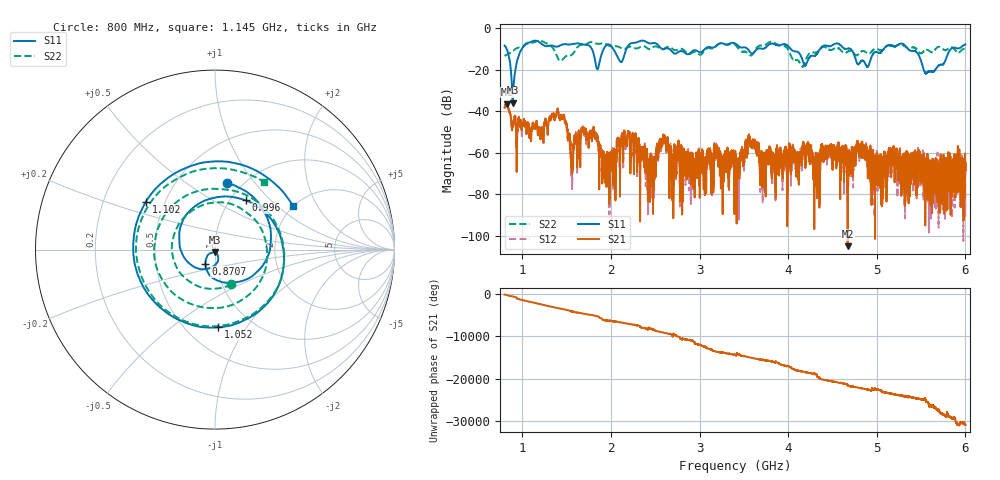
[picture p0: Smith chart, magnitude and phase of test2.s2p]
!Keysight Technologies N9923A: A.08.15
!Date: Friday, 16 February 2024 23:00:44
!Timezone: (GMT-05:00) Eastern Time (US & Canada)
!Model: N9923A
!Serial: MY52412730
!GPS Latitude:
!GPS Longitude:
!GPS TimeStamp: 0001-01-01 00:00:00Z
!GPS Seconds Since Last Read: 0
!CHECKSUM:1710827460
!Correction: S11(ON Q)S21(ON Q)S12(ON Q)S22(ON Q)
!S2P File: Measurements:S11,S21,S12,S22:
# Hz S DB R 50
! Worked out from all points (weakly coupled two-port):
!   10001 points, 800 MHz to 6 GHz, reference 50 ohm
!   highest |S21| = -36.60 dB at 822.4 MHz (marker M1); lowest = -105.1 dB at 4.671 GHz (marker M2)
!   lowest |S11| = -35.9 dB at 891.5 MHz (marker M3), VSWR 1.03, Z = 49.8 - j1.58 ohm
!   |S11| at or under -10 dB: 2.658 GHz to 3.062 GHz (403.9 MHz wide, 14.1 % of centre); 4.702 GHz to 5.08 GHz (377.9 MHz wide, 7.73 % of centre); 5.352 GHz to 5.838 GHz (485.7 MHz wide, 8.68 % of centre) (the widest 3 of 12)
!   |S22| runs from -18.6 to -5.9 dB; largest |S21 - S12| = 0.0014
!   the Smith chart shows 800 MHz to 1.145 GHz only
!   S11 on the Smith chart (normalised r, x): 800 MHz: 0.85, +0.74; 870.7 MHz: 0.89, -0.14; 996 MHz: 1.17, +0.72; 1.052 GHz: 0.70, -0.75; 1.102 GHz: 0.39, +0.27; 1.145 GHz: 1.97, +1.28
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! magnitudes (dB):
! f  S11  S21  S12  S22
! 800 MHz  -8.5  -38.4  -38.0  -13.5
! 822.4 MHz  -9.9  -36.6  -36.5  -12.9
! 870.7 MHz  -20.4  -43.1  -42.5  -11.6
! 891.5 MHz  -35.9  -46.5  -47.8  -11.0
! 996 MHz  -9.8  -48.2  -49.9  -9.4
! 1.052 GHz  -7.3  -49.4  -49.0  -7.6
! 1.102 GHz  -6.6  -49.4  -49.6  -7.1
! 1.145 GHz  -6.1  -48.0  -48.4  -6.6
! 1.46 GHz  -7.8  -43.3  -43.5  -15.0
! 1.561 GHz  -7.7  -64.1  -70.2  -12.8
! 1.667 GHz  -7.7  -48.6  -48.8  -8.1
! 1.928 GHz  -9.3  -68.8  -67.1  -7.5
! 2.187 GHz  -9.0  -52.6  -52.6  -9.3
! 2.436 GHz  -7.4  -70.1  -65.2  -10.1
! 2.534 GHz  -8.2  -62.1  -60.6  -9.3
! 3.4 GHz  -7.4  -60.5  -62.4  -8.0
! 3.574 GHz  -11.7  -55.8  -56.3  -13.1
! 4.267 GHz  -13.3  -61.5  -61.2  -11.7
! 4.671 GHz  -9.9  -105.1  -77.3  -11.3
! 5.134 GHz  -8.1  -61.1  -65.3  -8.4
! 5.562 GHz  -21.7  -64.0  -64.4  -10.5
! 6 GHz  -7.9  -65.4  -68.1  -10.2
